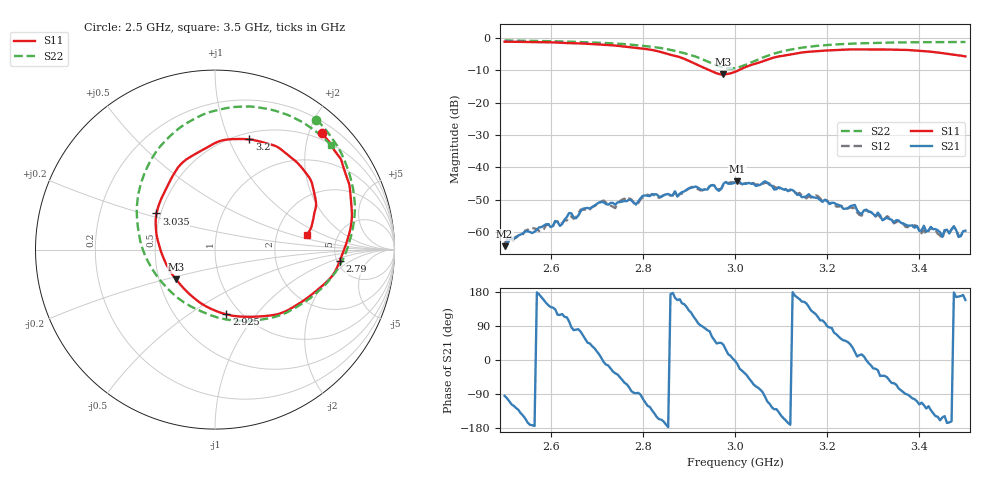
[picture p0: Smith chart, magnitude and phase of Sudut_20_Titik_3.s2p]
# Hz S RI R 50
! CMT, C1220, 16058040, 17.2.0/1
! Date: 15/08/2018 10:39:28
! Data: Format (Calibration Info)
! Freq  S11: Re/Im (F2)  S21: Re/Im (F2)  S12: Re/Im (F2)  S22: Re/Im (F2)
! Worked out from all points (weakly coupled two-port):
!   201 points, 2.5 GHz to 3.5 GHz, reference 50 ohm
!   highest |S21| = -44.30 dB at 3.005 GHz (marker M1); lowest = -64.4 dB at 2.5 GHz (marker M2)
!   lowest |S11| = -11.3 dB at 2.975 GHz (marker M3), VSWR 1.75, Z = 30.7 - j11 ohm
!   |S11| at or under -10 dB: 2.946 GHz to 3.007 GHz (61.53 MHz wide, 2.07 % of centre)
!   |S22| runs from -9.4 to -0.7 dB; largest |S21 - S12| = 0.00053
!   S11 on the Smith chart (normalised r, x): 2.5 GHz: 0.39, +2.22; 2.79 GHz: 5.30, -1.29; 2.925 GHz: 0.86, -0.72; 3.035 GHz: 0.47, +0.22; 3.2 GHz: 0.57, +1.19; 3.5 GHz: 3.00, +0.68
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2.5e9  0.5952 0.647  -4.83e-05 -0.000601  -2.85e-05 -0.000664  0.5652 0.7242
2.67e9  0.752 0.3358  0.000964 0.00208  0.00106 0.00194  0.7388 0.4521
2.715e9  0.7627 0.2002  0.00287 -0.00027  0.00305 -0.000235  0.7682 0.3434
2.74e9  0.7559 0.1232  0.00216 -0.00151  0.00203 -0.00115  0.7773 0.2726
2.76e9  0.7373 0.0526  0.00152 -0.00261  0.00165 -0.00282  0.7788 0.2094
2.79e9  0.6955 -0.0623  0.000169 -0.00297  1.21e-05 -0.00279  0.7651 0.1046
2.835e9  0.5811 -0.2159  -0.00323 -0.00143  -0.00305 -0.00143  0.7047 -0.0704
2.925e9  0.0636 -0.3609  -0.000117 0.00456  -0.0003 0.00438  0.2936 -0.3838
2.975e9  -0.2172 -0.166  0.00428 0.00356  0.00416 0.00345  -0.0983 -0.3343
3e9  -0.3004 -0.0123  0.00581 -0.000235  0.00579 -0.000602  -0.2724 -0.2087
3.005e9  -0.3102 0.0203  0.006 -0.00108  0.00568 -0.00116  -0.3014 -0.1762
3.035e9  -0.3261 0.2013  0.00316 -0.00461  0.00321 -0.00457  -0.4171 0.0497
3.105e9  -0.1401 0.5149  -0.00406 -0.00204  -0.00396 -0.00194  -0.3383 0.53
3.17e9  0.091 0.6151  -0.00201 0.00279  -0.00227 0.00267  -0.0884 0.7421
3.2e9  0.1919 0.6142  5.66e-05 0.00299  0.000153 0.00307  0.0226 0.779
3.335e9  0.4941 0.4429  0.000941 -0.00128  0.000918 -0.00138  0.3949 0.7542
3.405e9  0.5569 0.296  -0.000409 -0.000987  -0.000383 -0.000879  0.521 0.687
3.425e9  0.5632 0.2486  -0.000803 -0.000884  -0.000809 -0.00088  0.5508 0.6672
3.45e9  0.552 0.194  -0.000737 -0.000399  -0.000669 -0.000415  0.5872 0.6386
3.475e9  0.5384 0.1303  -0.00123 3.77e-05  -0.00119 7.43e-06  0.6176 0.611
3.485e9  0.5296 0.1097  -0.000819 0.000183  -0.000839 0.000266  0.6295 0.5986
3.5e9  0.5139 0.083  -0.000975 0.000385  -0.000854 0.000484  0.6465 0.5817
